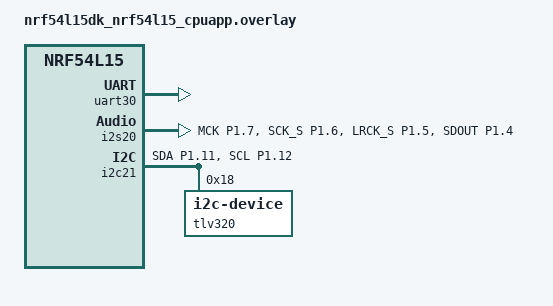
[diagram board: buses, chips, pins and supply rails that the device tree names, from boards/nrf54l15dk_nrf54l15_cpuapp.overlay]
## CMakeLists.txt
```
# SPDX-License-Identifier: Apache-2.0

cmake_minimum_required(VERSION 3.20.0)
find_package(Zephyr REQUIRED HINTS $ENV{ZEPHYR_BASE})
project(nrf54l15_audio_headset)

target_sources(app PRIVATE
  src/main.c
  src/vcp_vol_renderer.c
  src/bap_broadcast_sink.c
  src/bap_unicast_sr.c
  src/iso_rx.c
  src/audio_out.c
)
```

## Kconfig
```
#
# Copyright (c) 2022 Codecoup
# Copyright 2023 NXP
#
# SPDX-License-Identifier: Apache-2.0
#

mainmenu "nRF54L15 Audio Headset"

menu "Zephyr"
source "Kconfig.zephyr"
endmenu

menu "nRF54L15 Audio Headset"

config NRF54L15_AUDIO_HEADSET_PAST
	bool
	default y
	# enable PAST support if we can
	select BT_PER_ADV_SYNC_TRANSFER_RECEIVER if (!HAS_BT_CTLR || \
						     BT_CTLR_SYNC_TRANSFER_RECEIVER_SUPPORT)
	help
	  Lets a Broadcast Assistant (e.g. a phone) transfer the periodic
	  advertising sync of a broadcast source to this device.

config NRF54L15_AUDIO_HEADSET_SCAN_SELF
	bool "Scan for TMAP Broadcast Media Senders without Broadcast Assistant"
	help
	  If set to true, the sample will scan for and sync to a TMAP BMS by
	  itself, in addition to accepting requests from a Broadcast Assistant.

endmenu
```

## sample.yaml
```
sample:
  description: Bluetooth LE Audio headset accepting unicast (CIS) and broadcast (BIS) audio
  name: nRF54L15 Audio Headset
tests:
  sample.bluetooth.nrf54l15_audio_headset:
    sysbuild: true
    build_only: true
    integration_platforms:
      - nrf54l15dk/nrf54l15/cpuapp
    platform_allow:
      - nrf54l15dk/nrf54l15/cpuapp
    tags:
      - bluetooth
      - ci_build
      - sysbuild
      - ci_samples_bluetooth
```

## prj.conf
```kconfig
CONFIG_BT=y
CONFIG_LOG=y
CONFIG_BT_PERIPHERAL=y
# Request a 60 ms connection interval (in units of 1.25 ms) 5 s after the connection is
# established. It is within BT_BAP_CONN_PARAM_RELAXED (50-70 ms, recommended for coexistence of
# ACL and ISO) and a multiple of the 7.5, 10, 20 and 30 ms ISO intervals, so that the phone can
# schedule the ACL and the ISO events without collisions.
CONFIG_BT_GAP_AUTO_UPDATE_CONN_PARAMS=y
CONFIG_BT_PERIPHERAL_PREF_MIN_INT=48
CONFIG_BT_PERIPHERAL_PREF_MAX_INT=48
CONFIG_BT_PERIPHERAL_PREF_LATENCY=0
# Supervision timeout of 4 s (in units of 10 ms)
CONFIG_BT_PERIPHERAL_PREF_TIMEOUT=400
CONFIG_BT_PRIVACY=y
CONFIG_BT_OBSERVER=y
CONFIG_BT_AUDIO=y
CONFIG_UTF8=y

CONFIG_BT_SMP=y
CONFIG_BT_KEYS_OVERWRITE_OLDEST=y
CONFIG_BT_ATT_TX_COUNT=20

# TMAP support
CONFIG_BT_TMAP=y

# CAP
CONFIG_BT_CAP_ACCEPTOR=y

# BAP Unicast Server support (CIS)
CONFIG_BT_ISO_PERIPHERAL=y
CONFIG_BT_BAP_UNICAST_SERVER=y
# Mandatory to support at least 1 for ASCS. With the large metadata size below, long writes of
# an ASE need up to 5 prepare buffers with the default ATT MTU
CONFIG_BT_ATT_PREPARE_COUNT=5
CONFIG_BT_ASCS=y
CONFIG_BT_PAC_SNK=y
# One sink ASE per channel, so that a phone streams stereo over a CIS for each of left and right
CONFIG_BT_ASCS_MAX_ASE_SNK_COUNT=2
CONFIG_BT_PAC_SRC=y
CONFIG_BT_ASCS_MAX_ASE_SRC_COUNT=1
CONFIG_BT_ISO_TX_BUF_COUNT=2

# BAP Broadcast Sink and Scan Delegator support (BIS)
CONFIG_BT_EXT_ADV=y
CONFIG_BT_PER_ADV_SYNC=y
CONFIG_BT_ISO_SYNC_RECEIVER=y
CONFIG_BT_BAP_SCAN_DELEGATOR=y
CONFIG_BT_BAP_BROADCAST_SINK=y
CONFIG_BT_BAP_BROADCAST_SNK_SUBGROUP_COUNT=2
CONFIG_BT_BAP_BROADCAST_SNK_STREAM_COUNT=2
CONFIG_BT_BAP_BASS_MAX_SUBGROUPS=2

# VCP support
CONFIG_BT_VCP_VOL_REND=y

# Support an ISO channel per ASE (3) and per BIS (2)
CONFIG_BT_ISO_MAX_CHAN=5
# Allocate 4 RX buffers per channel
CONFIG_BT_ISO_RX_BUF_COUNT=16

# Phones send more metadata than just the Streaming Audio Contexts (e.g. a CCID list in the ASE
# Enable operation, and program info in the BASE and the BASS Add Source operation)
CONFIG_BT_AUDIO_CODEC_CFG_MAX_METADATA_SIZE=255

# PAC Location Support
CONFIG_BT_PAC_SNK_LOC=y
CONFIG_BT_PAC_SRC_LOC=y

# Generic config
CONFIG_BT_GATT_DYNAMIC_DB=y
CONFIG_BT_DEVICE_NAME="nRF54L15 Audio Headset"

# Audio output: LC3 decoding, I2S to a TLV320 DAC configured over I2C
CONFIG_FPU=y
CONFIG_LIBLC3=y
CONFIG_NRFX_I2S=y
CONFIG_CLOCK_CONTROL=y
CONFIG_I2C=y
CONFIG_GPIO=y
CONFIG_RING_BUFFER=y

# Buttons to change the volume
CONFIG_DK_LIBRARY=y
# The received audio is decoded in the Bluetooth RX thread
CONFIG_BT_RX_STACK_SIZE=12000
CONFIG_SYSTEM_WORKQUEUE_STACK_SIZE=4096
```

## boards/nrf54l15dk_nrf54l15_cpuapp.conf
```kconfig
# Larger ACL buffers and data length for faster GATT discovery by phones
CONFIG_BT_BUF_ACL_RX_SIZE=255
CONFIG_BT_BUF_ACL_TX_SIZE=251
CONFIG_BT_L2CAP_TX_MTU=247
CONFIG_BT_CTLR_DATA_LENGTH_MAX=251
CONFIG_BT_BUF_EVT_RX_SIZE=255

# The TMAS, CAS, ASCS and BASS service data does not fit in 31 octets of advertising data
CONFIG_BT_CTLR_ADV_DATA_LEN_MAX=191

# Room for periodic advertising reports containing the BASE
CONFIG_BT_CTLR_SDC_PERIODIC_SYNC_BUFFER_COUNT=10

# Store bonds so that the phone can reconnect after a reset
CONFIG_BT_SETTINGS=y
CONFIG_SETTINGS=y
CONFIG_FLASH=y
CONFIG_FLASH_MAP=y
CONFIG_ZMS=y
# Bonds are stored in the internal storage partition; the external flash is not used
CONFIG_SPI_NOR=n
# Allow the phone to pair again after it removed the bond on its side
CONFIG_BT_SMP_ALLOW_UNAUTH_OVERWRITE=y

# Output logs and the console (printk) over Segger RTT instead of UART
CONFIG_USE_SEGGER_RTT=y
CONFIG_LOG_BACKEND_RTT=y
CONFIG_LOG_BACKEND_UART=n
CONFIG_RTT_CONSOLE=y
CONFIG_UART_CONSOLE=n

#CONFIG_BT_CTLR_SDC_MAX_CONN_EVENT_LEN_DEFAULT=300

CONFIG_BT_CTLR_TX_PWR_ANTENNA=8
```

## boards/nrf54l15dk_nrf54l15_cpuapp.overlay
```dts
/* Audio output to a TLV320 DAC: I2S20 on P1.04-P1.07 and I2C21 on P1.11/P1.12. The TLV320
 * reset line is connected to the LED3 pin.
 *
 * UART20 (VCOM0) uses P1.04-P1.07 on the DK, so the console is moved to UART30 (VCOM1).
 */

/ {
	chosen {
		zephyr,shell-uart = &uart30;
		zephyr,console = &uart30;
	};
};

&uart30 {
	status = "okay";
};

&uart20 {
	status = "disabled";
};

&pinctrl {
	i2s20_default: i2s20_default {
		group1 {
			psels = <NRF_PSEL(I2S_MCK, 1, 7)>,
				<NRF_PSEL(I2S_SCK_S, 1, 6)>,
				<NRF_PSEL(I2S_LRCK_S, 1, 5)>,
				<NRF_PSEL(I2S_SDOUT, 1, 4)>;
		};
	};

	i2s20_sleep: i2s20_sleep {
		group1 {
			psels = <NRF_PSEL(I2S_MCK, 1, 7)>,
				<NRF_PSEL(I2S_SCK_S, 1, 6)>,
				<NRF_PSEL(I2S_LRCK_S, 1, 5)>,
				<NRF_PSEL(I2S_SDOUT, 1, 4)>;
			low-power-enable;
		};
	};

	i2c21_default_alt: i2c21_default_alt {
		group1 {
			psels = <NRF_PSEL(TWIM_SDA, 1, 11)>,
				<NRF_PSEL(TWIM_SCL, 1, 12)>;
		};
	};

	i2c21_sleep_alt: i2c21_sleep_alt {
		group1 {
			psels = <NRF_PSEL(TWIM_SDA, 1, 11)>,
				<NRF_PSEL(TWIM_SCL, 1, 12)>;
			low-power-enable;
		};
	};
};

&i2s20 {
	status = "okay";
	pinctrl-0 = <&i2s20_default>;
	pinctrl-1 = <&i2s20_sleep>;
	pinctrl-names = "default", "sleep";
};

&i2c21 {
	compatible = "nordic,nrf-twim";
	status = "okay";
	pinctrl-0 = <&i2c21_default_alt>;
	pinctrl-1 = <&i2c21_sleep_alt>;
	pinctrl-names = "default", "sleep";

	tlv320: tlv320@18 {
		compatible = "i2c-device";
		status = "okay";
		reg = <0x18>;
	};
};
```

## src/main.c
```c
/*
 * Copyright 2023 NXP
 * Copyright (c) 2026 Nordic Semiconductor ASA
 *
 * SPDX-License-Identifier: Apache-2.0
 */

#include <errno.h>
#include <stddef.h>

#include <zephyr/autoconf.h>
#include <zephyr/bluetooth/assigned_numbers.h>
#include <zephyr/bluetooth/audio/audio.h>
#include <zephyr/bluetooth/audio/bap.h>
#include <zephyr/bluetooth/audio/lc3.h>
#include <zephyr/bluetooth/audio/pacs.h>
#include <zephyr/bluetooth/audio/tmap.h>
#include <zephyr/bluetooth/bluetooth.h>
#include <zephyr/bluetooth/byteorder.h>
#include <zephyr/bluetooth/conn.h>
#include <zephyr/bluetooth/gap.h>
#include <zephyr/bluetooth/hci.h>
#include <zephyr/bluetooth/uuid.h>
#include <zephyr/kernel.h>
#include <zephyr/settings/settings.h>
#include <zephyr/sys/printk.h>
#include <zephyr/sys/util.h>
#include <zephyr/types.h>

#include "nrf54l15_audio_headset.h"

#define TMAP_ROLE (BT_TMAP_ROLE_CT | BT_TMAP_ROLE_UMR | BT_TMAP_ROLE_BMR)

/* Cover the LC3 presets used by phones for both media (e.g. 48_2, 48_4) and calls (16_2, 32_2) */
#define SUPPORTED_FREQ                                                                             \
	(BT_AUDIO_CODEC_CAP_FREQ_16KHZ | BT_AUDIO_CODEC_CAP_FREQ_24KHZ |                           \
	 BT_AUDIO_CODEC_CAP_FREQ_32KHZ | BT_AUDIO_CODEC_CAP_FREQ_48KHZ)
#define SUPPORTED_DURATION (BT_AUDIO_CODEC_CAP_DURATION_7_5 | BT_AUDIO_CODEC_CAP_DURATION_10)
#define MIN_OCTETS_PER_FRAME 26U
#define MAX_OCTETS_PER_FRAME 155U
#define FRAMES_PER_SDU       1U
/* Stereo output, with one sink ASE per channel */
#define SINK_LOCATION   (BT_AUDIO_LOCATION_FRONT_LEFT | BT_AUDIO_LOCATION_FRONT_RIGHT)
#define SOURCE_LOCATION BT_AUDIO_LOCATION_FRONT_LEFT

static const struct bt_data ad[] = {
	BT_DATA_BYTES(BT_DATA_FLAGS, (BT_LE_AD_GENERAL | BT_LE_AD_NO_BREDR)),
	BT_DATA_BYTES(BT_DATA_GAP_APPEARANCE,
		      BT_BYTES_LIST_LE16(BT_APPEARANCE_WEARABLE_AUDIO_DEVICE_EARBUD)),
	BT_DATA_BYTES(BT_DATA_UUID16_SOME, BT_UUID_16_ENCODE(BT_UUID_ASCS_VAL),
		      BT_UUID_16_ENCODE(BT_UUID_CAS_VAL), BT_UUID_16_ENCODE(BT_UUID_TMAS_VAL),
		      BT_UUID_16_ENCODE(BT_UUID_BASS_VAL)),
	BT_DATA_BYTES(BT_DATA_SVC_DATA16, BT_UUID_16_ENCODE(BT_UUID_TMAS_VAL),
		      BT_BYTES_LIST_LE16(TMAP_ROLE)),
	BT_DATA_BYTES(BT_DATA_SVC_DATA16, BT_UUID_16_ENCODE(BT_UUID_CAS_VAL),
		      BT_AUDIO_UNICAST_ANNOUNCEMENT_TARGETED),
	BT_DATA_BYTES(BT_DATA_SVC_DATA16, BT_UUID_16_ENCODE(BT_UUID_ASCS_VAL),
		      BT_AUDIO_UNICAST_ANNOUNCEMENT_TARGETED, BT_BYTES_LIST_LE16(SINK_CONTEXT),
		      BT_BYTES_LIST_LE16(SOURCE_CONTEXT), 0x00 /* Metadata length */),
	BT_DATA_BYTES(BT_DATA_SVC_DATA16, BT_UUID_16_ENCODE(BT_UUID_BASS_VAL)),
	BT_DATA(BT_DATA_NAME_COMPLETE, CONFIG_BT_DEVICE_NAME, sizeof(CONFIG_BT_DEVICE_NAME) - 1),
};

static struct bt_conn *default_conn;

static K_SEM_DEFINE(sem_connected, 0, 1);
static K_SEM_DEFINE(sem_disconnected, 0, 1);

static void print_conn_params(const char *event, uint32_t interval_us, uint16_t latency,
			      uint16_t timeout)
{
	printk("%s: interval %u.%02u ms, latency %u, timeout %u ms\n", event,
	       interval_us / USEC_PER_MSEC, (interval_us % USEC_PER_MSEC) / 10U, latency,
	       timeout * 10U);
}

static void connected(struct bt_conn *conn, uint8_t err)
{
	struct bt_conn_info info;

	if (err != 0) {
		printk("Failed to connect to %s %u %s\n", bt_conn_dst_str(conn),
		       err, bt_hci_err_to_str(err));

		return;
	}

	printk("Connected: %s\n", bt_conn_dst_str(conn));

	if (bt_conn_get_info(conn, &info) == 0) {
		print_conn_params("Connection parameters", info.le.interval_us, info.le.latency,
				  info.le.timeout);
	}

	default_conn = bt_conn_ref(conn);
	k_sem_give(&sem_connected);
}

static void le_param_updated(struct bt_conn *conn, uint16_t interval, uint16_t latency,
			     uint16_t timeout)
{
	print_conn_params("Connection parameters updated", BT_CONN_INTERVAL_TO_US(interval),
			  latency, timeout);
}

static void disconnected(struct bt_conn *conn, uint8_t reason)
{
	if (conn != default_conn) {
		return;
	}

	printk("Disconnected: %s, reason 0x%02x %s\n", bt_conn_dst_str(conn),
	       reason, bt_hci_err_to_str(reason));

	bt_conn_unref(default_conn);
	default_conn = NULL;

	k_sem_give(&sem_disconnected);
}

static void security_changed(struct bt_conn *conn, bt_security_t level,
			     enum bt_security_err err)
{
	if (err == 0) {
		printk("Security changed: level %u\n", level);
	} else {
		printk("Failed to set security level: %s(%u)\n", bt_security_err_to_str(err), err);
	}
}

BT_CONN_CB_DEFINE(conn_callbacks) = {
	.connected = connected,
	.disconnected = disconnected,
	.le_param_updated = le_param_updated,
	.security_changed = security_changed,
};

/** Register the PAC record, location and contexts for a direction */
static int register_pac(enum bt_audio_dir dir, enum bt_audio_context context,
			struct bt_pacs_cap *cap, enum bt_audio_location location)
{
	int err;

	err = bt_pacs_cap_register(dir, cap);
	if (err != 0) {
		printk("Failed to register capabilities (err %d)\n", err);
		return err;
	}

	err = bt_pacs_set_location(dir, location);
	if (err != 0) {
		printk("Failed to set location (err %d)\n", err);
		return err;
	}

	err = bt_pacs_set_supported_contexts(dir, context);
	if (err != 0 && err != -EALREADY) {
		printk("Failed to set supported contexts (err %d)\n", err);
		return err;
	}

	err = bt_pacs_set_available_contexts(dir, context);
	if (err != 0 && err != -EALREADY) {
		printk("Failed to set available contexts (err %d)\n", err);
		return err;
	}

	return 0;
}

/* The sink PAC record is used for both the unicast (CIS) and the broadcast (BIS) sink */
static int pacs_init(void)
{
	static const struct bt_audio_codec_cap sink_codec_cap = BT_AUDIO_CODEC_CAP_LC3(
		SUPPORTED_FREQ, SUPPORTED_DURATION, BT_AUDIO_CODEC_CAP_CHAN_COUNT_SUPPORT(1),
		MIN_OCTETS_PER_FRAME, MAX_OCTETS_PER_FRAME, FRAMES_PER_SDU, SINK_CONTEXT);
	static const struct bt_audio_codec_cap source_codec_cap = BT_AUDIO_CODEC_CAP_LC3(
		SUPPORTED_FREQ, SUPPORTED_DURATION, BT_AUDIO_CODEC_CAP_CHAN_COUNT_SUPPORT(1),
		MIN_OCTETS_PER_FRAME, MAX_OCTETS_PER_FRAME, FRAMES_PER_SDU, SOURCE_CONTEXT);
	static struct bt_pacs_cap sink_cap = {
		.codec_cap = &sink_codec_cap,
	};
	static struct bt_pacs_cap source_cap = {
		.codec_cap = &source_codec_cap,
	};
	const struct bt_pacs_register_param pacs_param = {
		.snk_pac = true,
		.snk_loc = true,
		.src_pac = true,
		.src_loc = true,
	};
	int err;

	err = bt_pacs_register(&pacs_param);
	if (err != 0) {
		printk("Could not register PACS (err %d)\n", err);
		return err;
	}

	err = register_pac(BT_AUDIO_DIR_SINK, SINK_CONTEXT, &sink_cap, SINK_LOCATION);
	if (err != 0) {
		return err;
	}

	return register_pac(BT_AUDIO_DIR_SOURCE, SOURCE_CONTEXT, &source_cap, SOURCE_LOCATION);
}

int main(void)
{
	struct bt_le_ext_adv *adv;
	int err;

	err = audio_out_init();
	if (err != 0) {
		printk("Audio output init failed (err %d)\n", err);
		return err;
	}

	printk("Audio output initialized\n");

	err = bt_enable(NULL);
	if (err != 0) {
		printk("Bluetooth init failed (err %d)\n", err);
		return err;
	}

	printk("Bluetooth initialized\n");

	if (IS_ENABLED(CONFIG_BT_SETTINGS)) {
		/* Restore bonds so that a phone can reconnect after a reset */
		err = settings_load();
		if (err != 0) {
			printk("Failed to load settings (err %d)\n", err);
			return err;
		}
	}

	printk("Initializing TMAP and setting role\n");
	err = bt_tmap_register(TMAP_ROLE);
	if (err != 0) {
		return err;
	}

	err = vcp_vol_renderer_init();
	if (err != 0) {
		return err;
	}
	printk("VCP initialized\n");

	err = pacs_init();
	if (err != 0) {
		return err;
	}
	printk("PACS initialized\n");

	err = bap_unicast_sr_init();
	if (err != 0) {
		return err;
	}
	printk("BAP Unicast Server initialized\n");

	err = bap_broadcast_sink_init();
	if (err != 0) {
		return err;
	}
	printk("BAP Broadcast Sink initialized\n");

	err = bt_le_ext_adv_create(BT_BAP_ADV_PARAM_CONN_QUICK, NULL, &adv);
	if (err != 0) {
		printk("Failed to create advertising set (err %d)\n", err);
		return err;
	}

	err = bt_le_ext_adv_set_data(adv, ad, ARRAY_SIZE(ad), NULL, 0);
	if (err != 0) {
		printk("Failed to set advertising data (err %d)\n", err);
		return err;
	}

	while (true) {
		err = bt_le_ext_adv_start(adv, BT_LE_EXT_ADV_START_DEFAULT);
		if (err != 0) {
			printk("Failed to start advertising set (err %d)\n", err);
			return err;
		}

		printk("Advertising successfully started\n");

		/* The connected phone acts as CAP Initiator (CIS) and/or Broadcast Assistant (BIS).
		 * All requests are handled in the callbacks; just wait for it to go away again.
		 */
		k_sem_take(&sem_connected, K_FOREVER);
		k_sem_take(&sem_disconnected, K_FOREVER);
	}

	return 0;
}
```

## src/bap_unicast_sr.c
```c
/** @file
 *  @brief Bluetooth Basic Audio Profile (BAP) Unicast Server role.
 *
 *  Copyright (c) 2021-2026 Nordic Semiconductor ASA
 *  Copyright (c) 2022 Codecoup
 *  Copyright (c) 2023 NXP
 *
 *  SPDX-License-Identifier: Apache-2.0
 */

#include <errno.h>
#include <stdbool.h>
#include <stddef.h>
#include <stdint.h>

#include <zephyr/autoconf.h>
#include <zephyr/bluetooth/audio/audio.h>
#include <zephyr/bluetooth/audio/bap.h>
#include <zephyr/bluetooth/bluetooth.h>
#include <zephyr/bluetooth/conn.h>
#include <zephyr/bluetooth/gap.h>
#include <zephyr/bluetooth/hci_types.h>
#include <zephyr/bluetooth/iso.h>
#include <zephyr/kernel.h>
#include <zephyr/net_buf.h>
#include <zephyr/sys/printk.h>
#include <zephyr/sys/util.h>
#include <zephyr/sys/util_macro.h>

#include "nrf54l15_audio_headset.h"

#define TX_LOG_INTERVAL 100U

/* Preferred retransmission number proposed to the phone in the Codec Configured state, which
 * the phone uses for the CIS. 13 is the value of the high reliability QoS settings of BAP (e.g.
 * BT_BAP_LC3_UNICAST_PRESET_48_4_2), for a more robust audio stream than the low latency ones.
 */
#define QOS_PREF_RTN 10U

static struct unicast_stream {
	struct bt_bap_stream stream;
	struct iso_rx_stats rx_stats;
	uint16_t tx_seq_num;
	size_t tx_cnt;
} sink_streams[CONFIG_BT_ASCS_MAX_ASE_SNK_COUNT], source_streams[CONFIG_BT_ASCS_MAX_ASE_SRC_COUNT];

static const struct bt_bap_qos_cfg_pref qos_pref =
	BT_BAP_QOS_CFG_PREF(true, BT_GAP_LE_PHY_2M, QOS_PREF_RTN, 10, 20000, 40000, 20000, 40000);

static void print_hex(const uint8_t *ptr, size_t len)
{
	while (len-- != 0) {
		printk("%02x", *ptr++);
	}
}

static bool print_cb(struct bt_data *data, void *user_data)
{
	const char *str = (const char *)user_data;

	printk("%s: type 0x%02x value_len %u: ", str, data->type, data->data_len);
	print_hex(data->data, data->data_len);
	printk("\n");

	return true;
}

static void print_codec_cfg(const struct bt_audio_codec_cfg *codec_cfg)
{
	printk("codec_cfg 0x%02x cid 0x%04x vid 0x%04x count %u\n", codec_cfg->id, codec_cfg->cid,
	       codec_cfg->vid, codec_cfg->data_len);

	if (codec_cfg->id == BT_HCI_CODING_FORMAT_LC3) {
		enum bt_audio_location chan_allocation;
		int ret;

		ret = bt_audio_codec_cfg_get_freq(codec_cfg);
		if (ret > 0) {
			printk("  Frequency: %d Hz\n", bt_audio_codec_cfg_freq_to_freq_hz(ret));
		}

		ret = bt_audio_codec_cfg_get_frame_dur(codec_cfg);
		if (ret > 0) {
			printk("  Frame Duration: %d us\n",
			       bt_audio_codec_cfg_frame_dur_to_frame_dur_us(ret));
		}

		ret = bt_audio_codec_cfg_get_chan_allocation(codec_cfg, &chan_allocation, false);
		if (ret == 0) {
			printk("  Channel allocation: 0x%x\n", chan_allocation);
		}

		printk("  Octets per frame: %d (negative means value not present)\n",
		       bt_audio_codec_cfg_get_octets_per_frame(codec_cfg));
		printk("  Frames per SDU: %d\n",
		       bt_audio_codec_cfg_get_frame_blocks_per_sdu(codec_cfg, true));
	} else {
		print_hex(codec_cfg->data, codec_cfg->data_len);
		printk("\n");
	}

	bt_audio_data_parse(codec_cfg->meta, codec_cfg->meta_len, print_cb, "meta");
}

static void print_qos(const struct bt_bap_qos_cfg *qos)
{
	printk("QoS: interval %u framing 0x%02x phy 0x%02x sdu %u "
	       "rtn %u latency %u pd %u\n",
	       qos->interval, qos->framing, qos->phy, qos->sdu,
	       qos->rtn, qos->latency, qos->pd);
}

static const char *dir_str(enum bt_audio_dir dir)
{
	return dir == BT_AUDIO_DIR_SINK ? "sink" : "source";
}

static struct bt_bap_stream *stream_alloc(enum bt_audio_dir dir)
{
	if (dir == BT_AUDIO_DIR_SINK) {
		ARRAY_FOR_EACH_PTR(sink_streams, unicast_stream) {
			if (unicast_stream->stream.ep == NULL) {
				return &unicast_stream->stream;
			}
		}
	} else if (dir == BT_AUDIO_DIR_SOURCE) {
		ARRAY_FOR_EACH_PTR(source_streams, unicast_stream) {
			if (unicast_stream->stream.ep == NULL) {
				return &unicast_stream->stream;
			}
		}
	}

	return NULL;
}

static int lc3_config(struct bt_conn *conn, const struct bt_bap_ep *ep, enum bt_audio_dir dir,
		      const struct bt_audio_codec_cfg *codec_cfg, struct bt_bap_stream **stream,
		      struct bt_bap_qos_cfg_pref *const pref, struct bt_bap_ascs_rsp *rsp)
{
	printk("ASE Codec Config: conn %p ep %p dir %s\n", conn, ep, dir_str(dir));

	print_codec_cfg(codec_cfg);

	*stream = stream_alloc(dir);
	if (*stream == NULL) {
		printk("No %s streams available\n", dir_str(dir));
		*rsp = BT_BAP_ASCS_RSP(BT_BAP_ASCS_RSP_CODE_NO_MEM, BT_BAP_ASCS_REASON_NONE);

		return -ENOMEM;
	}

	printk("ASE Codec Config stream %p\n", *stream);

	*pref = qos_pref;

	return 0;
}

static int lc3_reconfig(struct bt_bap_stream *stream, enum bt_audio_dir dir,
			const struct bt_audio_codec_cfg *codec_cfg,
			struct bt_bap_qos_cfg_pref *const pref, struct bt_bap_ascs_rsp *rsp)
{
	printk("ASE Codec Reconfig: stream %p dir %s\n", stream, dir_str(dir));
	print_codec_cfg(codec_cfg);
	*pref = qos_pref;

	return 0;
}

static int lc3_qos(struct bt_bap_stream *stream, const struct bt_bap_qos_cfg *qos,
		   struct bt_bap_ascs_rsp *rsp)
{
	printk("QoS: stream %p qos %p\n", stream, qos);

	print_qos(qos);

	return 0;
}

static int lc3_enable(struct bt_bap_stream *stream, const uint8_t meta[], size_t meta_len,
		      struct bt_bap_ascs_rsp *rsp)
{
	printk("Enable: stream %p meta_len %zu\n", stream, meta_len);

	bt_audio_data_parse(meta, meta_len, print_cb, "meta");

	return 0;
}

static int lc3_start(struct bt_bap_stream *stream, struct bt_bap_ascs_rsp *rsp)
{
	printk("Start: stream %p\n", stream);

	return 0;
}

static int lc3_metadata(struct bt_bap_stream *stream, const uint8_t meta[], size_t meta_len,
			struct bt_bap_ascs_rsp *rsp)
{
	printk("Metadata: stream %p meta_len %zu\n", stream, meta_len);

	/* The metadata is only logged. In particular, the CCID list is not validated as the
	 * phone will typically refer to its own (G)TBS, which this sample does not discover.
	 */
	bt_audio_data_parse(meta, meta_len, print_cb, "meta");

	return 0;
}

static int lc3_disable(struct bt_bap_stream *stream, struct bt_bap_ascs_rsp *rsp)
{
	printk("Disable: stream %p\n", stream);

	return 0;
}

static int lc3_stop(struct bt_bap_stream *stream, struct bt_bap_ascs_rsp *rsp)
{
	printk("Stop: stream %p\n", stream);

	return 0;
}

static int lc3_release(struct bt_bap_stream *stream, struct bt_bap_ascs_rsp *rsp)
{
	printk("Release: stream %p\n", stream);

	return 0;
}

static struct bt_bap_unicast_server_register_param param = {
	CONFIG_BT_ASCS_MAX_ASE_SNK_COUNT,
	CONFIG_BT_ASCS_MAX_ASE_SRC_COUNT
};

static const struct bt_bap_unicast_server_cb unicast_server_cb = {
	.config = lc3_config,
	.reconfig = lc3_reconfig,
	.qos = lc3_qos,
	.enable = lc3_enable,
	.start = lc3_start,
	.metadata = lc3_metadata,
	.disable = lc3_disable,
	.stop = lc3_stop,
	.release = lc3_release,
};

static void stream_recv(struct bt_bap_stream *stream, const struct bt_iso_recv_info *info,
			struct net_buf *buf)
{
	struct unicast_stream *unicast_stream =
		CONTAINER_OF(stream, struct unicast_stream, stream);

	iso_rx_log("CIS", stream, &unicast_stream->rx_stats, info, buf);
	audio_out_recv(stream, info, buf);
}

static void stream_sent(struct bt_bap_stream *stream)
{
	struct unicast_stream *unicast_stream =
		CONTAINER_OF(stream, struct unicast_stream, stream);

	unicast_stream->tx_cnt++;
	if (unicast_stream->tx_cnt == 1U || (unicast_stream->tx_cnt % TX_LOG_INTERVAL) == 0U) {
		printk("[CIS] stream %p sent %zu SDUs\n", stream, unicast_stream->tx_cnt);
	}
}

static void stream_enabled(struct bt_bap_stream *stream)
{
	struct bt_bap_ep_info ep_info;
	int err;

	err = bt_bap_ep_get_info(stream->ep, &ep_info);
	if (err != 0) {
		printk("Failed to get ep info: %d\n", err);
		return;
	}

	printk("Enabled %s stream %p\n", dir_str(ep_info.dir), stream);

	/* The radio cannot receive a BIG and the CISes at the same time: with both, the CIS data
	 * is lost and not all CISes get established. Unicast audio takes over, so stop the BIS
	 * reception before the phone sets up the CISes.
	 */
	bap_broadcast_sink_stop_bis();

	/* The unicast server is responsible for starting the sink streams */
	if (ep_info.dir == BT_AUDIO_DIR_SINK) {
		/* Automatically do the receiver start ready operation */
		err = bt_bap_stream_start(stream);

		if (err != 0) {
			printk("Failed to start stream %p: %d\n", stream, err);
		}
	}
}

static void stream_started(struct bt_bap_stream *stream)
{
	struct unicast_stream *unicast_stream =
		CONTAINER_OF(stream, struct unicast_stream, stream);

	printk("Unicast stream %p started\n", stream);

	iso_rx_reset(&unicast_stream->rx_stats);
	unicast_stream->tx_seq_num = 0U;
	unicast_stream->tx_cnt = 0U;

	/* Play the received audio; the source (microphone) streams only send dummy SDUs */
	if (IS_ARRAY_ELEMENT(sink_streams, unicast_stream)) {
		(void)audio_out_stream_start(AUDIO_OUT_SRC_CIS, stream);
	}
}

static void stream_stopped(struct bt_bap_stream *stream, uint8_t reason)
{
	printk("Unicast stream %p stopped with reason 0x%02X\n", stream, reason);

	audio_out_stream_stop(stream);
}

static void stream_released(struct bt_bap_stream *stream)
{
	printk("Unicast stream %p released\n", stream);

	/* In case the stream was released without being stopped, e.g. on disconnect */
	audio_out_stream_stop(stream);
}

static struct bt_bap_stream_ops stream_ops = {
	.enabled = stream_enabled,
	.started = stream_started,
	.stopped = stream_stopped,
	.released = stream_released,
	.recv = stream_recv,
	.sent = stream_sent,
};

static bool stream_is_streaming(const struct bt_bap_stream *stream)
{
	struct bt_bap_ep_info ep_info;

	if (stream->ep == NULL) {
		return false;
	}

	if (bt_bap_ep_get_info(stream->ep, &ep_info) != 0) {
		return false;
	}

	return ep_info.state == BT_BAP_EP_STATE_STREAMING;
}

/* Sends dummy (all zero) SDUs on the source streams. The rate is limited by the number of TX
 * buffers, which are released when the controller has sent the SDU.
 */
static void tx_thread_func(void *arg1, void *arg2, void *arg3)
{
	NET_BUF_POOL_FIXED_DEFINE(tx_pool, CONFIG_BT_ISO_TX_BUF_COUNT,
				  BT_ISO_SDU_BUF_SIZE(CONFIG_BT_ISO_TX_MTU),
				  CONFIG_BT_CONN_TX_USER_DATA_SIZE, NULL);
	static const uint8_t data[CONFIG_BT_ISO_TX_MTU];

	while (true) {
		bool sent = false;

		ARRAY_FOR_EACH_PTR(source_streams, unicast_stream) {
			struct bt_bap_stream *stream = &unicast_stream->stream;
			struct net_buf *buf;
			int err;

			if (!stream_is_streaming(stream) || stream->qos == NULL) {
				continue;
			}

			buf = net_buf_alloc(&tx_pool, K_FOREVER);
			net_buf_reserve(buf, BT_ISO_CHAN_SEND_RESERVE);
			net_buf_add_mem(buf, data, MIN(stream->qos->sdu, sizeof(data)));

			err = bt_bap_stream_send(stream, buf, unicast_stream->tx_seq_num);
			if (err == 0) {
				unicast_stream->tx_seq_num++;
				sent = true;
			} else {
				printk("Unable to send on stream %p: %d\n", stream, err);
				net_buf_unref(buf);
			}
		}

		if (!sent) {
			/* Nothing is streaming, or sending failed; retry with a delay */
			k_sleep(K_MSEC(100));
		}
	}
}

/* Release a stream if it uses a CIS. A Release (rather than a Disable) makes the CIS
 * disconnect, so that the radio is free for a BIG.
 */
static void stream_release_if_cis(struct bt_bap_stream *stream)
{
	struct bt_bap_ep_info ep_info;
	int err;

	if (stream->ep == NULL || bt_bap_ep_get_info(stream->ep, &ep_info) != 0) {
		return;
	}

	switch (ep_info.state) {
	case BT_BAP_EP_STATE_ENABLING:
	case BT_BAP_EP_STATE_STREAMING:
	case BT_BAP_EP_STATE_DISABLING:
		break;
	case BT_BAP_EP_STATE_QOS_CONFIGURED:
		/* A disabled stream may still keep its CIS */
		if (ep_info.iso_chan != NULL && ep_info.iso_chan->state == BT_ISO_STATE_CONNECTED) {
			break;
		}

		return;
	default:
		return;
	}

	printk("Releasing %s stream %p to receive BISes\n", dir_str(ep_info.dir), stream);

	err = bt_bap_stream_release(stream);
	if (err != 0) {
		printk("Failed to release stream %p: %d\n", stream, err);
	}
}

static void stop_cis_work_handler(struct k_work *work)
{
	ARRAY_FOR_EACH_PTR(sink_streams, unicast_stream) {
		stream_release_if_cis(&unicast_stream->stream);
	}

	ARRAY_FOR_EACH_PTR(source_streams, unicast_stream) {
		stream_release_if_cis(&unicast_stream->stream);
	}
}

static K_WORK_DEFINE(stop_cis_work, stop_cis_work_handler);

void bap_unicast_sr_stop_cis(void)
{
	/* Release the streams from the system workqueue rather than from the Bluetooth callback
	 * that starts the BIS reception, e.g. when receiving a BIGInfo
	 */
	k_work_submit(&stop_cis_work);
}

int bap_unicast_sr_init(void)
{
	int err;

	err = bt_bap_unicast_server_register(&param);
	if (err != 0) {
		printk("Failed to register BAP unicast server (err %d)\n", err);
		return err;
	}

	err = bt_bap_unicast_server_register_cb(&unicast_server_cb);
	if (err != 0) {
		printk("Failed to register BAP unicast server callbacks (err %d)\n", err);
		return err;
	}

	ARRAY_FOR_EACH_PTR(sink_streams, unicast_stream) {
		bt_bap_stream_cb_register(&unicast_stream->stream, &stream_ops);
	}

	ARRAY_FOR_EACH_PTR(source_streams, unicast_stream) {
		bt_bap_stream_cb_register(&unicast_stream->stream, &stream_ops);
	}

	if (IS_ENABLED(CONFIG_BT_ASCS_ASE_SRC)) {
		static K_KERNEL_STACK_DEFINE(tx_thread_stack, 1024);
		static struct k_thread tx_thread;

		k_thread_create(&tx_thread, tx_thread_stack, K_KERNEL_STACK_SIZEOF(tx_thread_stack),
				tx_thread_func, NULL, NULL, NULL, K_PRIO_PREEMPT(5), 0, K_NO_WAIT);
		k_thread_name_set(&tx_thread, "TX thread");
	}

	return 0;
}
```

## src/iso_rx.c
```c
/*
 * Copyright (c) 2026 Nordic Semiconductor ASA
 *
 * SPDX-License-Identifier: Apache-2.0
 */

#include <stdbool.h>
#include <stddef.h>
#include <stdint.h>
#include <string.h>

#include <zephyr/bluetooth/audio/bap.h>
#include <zephyr/bluetooth/iso.h>
#include <zephyr/net_buf.h>
#include <zephyr/sys/printk.h>
#include <zephyr/sys/util.h>

#include "nrf54l15_audio_headset.h"

#define ISO_RX_HEX_LEN 8U

void iso_rx_reset(struct iso_rx_stats *stats)
{
	(void)memset(stats, 0, sizeof(*stats));
}

void iso_rx_log(const char *tag, const struct bt_bap_stream *stream, struct iso_rx_stats *stats,
		const struct bt_iso_recv_info *info, const struct net_buf *buf)
{
	bool do_log = false;

	stats->recv_cnt++;
	if (stats->recv_cnt == 1U || (stats->recv_cnt % ISO_RX_LOG_INTERVAL) == 0U) {
		do_log = true;
	}

	if ((info->flags & BT_ISO_FLAGS_ERROR) != 0U) {
		stats->err_cnt++;
		do_log = true;
	}

	if ((info->flags & BT_ISO_FLAGS_LOST) != 0U) {
		stats->lost_cnt++;
		do_log = true;
	}

	if ((info->flags & BT_ISO_FLAGS_VALID) != 0U) {
		if (buf->len == 0U) {
			stats->empty_cnt++;
		} else {
			stats->valid_cnt++;
		}
	}

	if (!do_log) {
		return;
	}

	printk("[%s] stream %p #%zu len %u seq %u ts %u flags 0x%02X | valid %zu empty %zu "
	       "lost %zu err %zu | data:",
	       tag, stream, stats->recv_cnt, buf->len, info->seq_num, info->ts, info->flags,
	       stats->valid_cnt, stats->empty_cnt, stats->lost_cnt, stats->err_cnt);

	for (size_t i = 0U; i < MIN(buf->len, ISO_RX_HEX_LEN); i++) {
		printk(" %02x", buf->data[i]);
	}

	printk("\n");
}
```

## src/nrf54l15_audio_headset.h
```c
/*
 * Copyright 2023 NXP
 *
 * SPDX-License-Identifier: Apache-2.0
 */

#ifndef NRF54L15_AUDIO_HEADSET_H_
#define NRF54L15_AUDIO_HEADSET_H_

#include <stdbool.h>
#include <stddef.h>
#include <stdint.h>

#include <zephyr/bluetooth/assigned_numbers.h>
#include <zephyr/bluetooth/audio/bap.h>
#include <zephyr/bluetooth/iso.h>
#include <zephyr/net_buf.h>
#include <zephyr/types.h>

#define SINK_CONTEXT BT_AUDIO_CONTEXT_TYPE_ANY
#define SOURCE_CONTEXT                                                                             \
	(BT_AUDIO_CONTEXT_TYPE_UNSPECIFIED | BT_AUDIO_CONTEXT_TYPE_CONVERSATIONAL |                \
	 BT_AUDIO_CONTEXT_TYPE_GAME | BT_AUDIO_CONTEXT_TYPE_VOICE_ASSISTANTS |                     \
	 BT_AUDIO_CONTEXT_TYPE_LIVE | BT_AUDIO_CONTEXT_TYPE_INSTRUCTIONAL)

/* Log every Nth received SDU (plus the first one and any lost/erroneous ones) */
#define ISO_RX_LOG_INTERVAL 100U

/** Statistics for a receiving (CIS or BIS) stream */
struct iso_rx_stats {
	size_t recv_cnt;
	size_t valid_cnt;
	size_t empty_cnt;
	size_t lost_cnt;
	size_t err_cnt;
};

/**
 * @brief Initialize the VCP Volume Renderer role
 *
 * @return 0 if success, errno on failure.
 */
int vcp_vol_renderer_init(void);

/**
 * @brief Initialize BAP Unicast Server (CIS sink and source)
 *
 * @return 0 if success, errno on failure.
 */
int bap_unicast_sr_init(void);

/**
 * @brief Stop receiving and sending CISes, e.g. because broadcast audio starts
 *
 * Releases the unicast streams that use a CIS, which disconnects the CISes. The phone can
 * configure and enable the streams again.
 */
void bap_unicast_sr_stop_cis(void);

/**
 * @brief Initialize BAP Broadcast Sink and Scan Delegator (BIS)
 *
 * @return 0 if success, errno on failure.
 */
int bap_broadcast_sink_init(void);

/**
 * @brief Stop receiving BISes, e.g. because unicast audio starts
 *
 * The BIG sync is stopped and not requested again by the broadcast sink itself, until the
 * Broadcast Assistant requests the BIS sync again. The PA sync and the source in the Broadcast
 * Receive State are kept.
 */
void bap_broadcast_sink_stop_bis(void);

/**
 * @brief Reset the receive statistics of a stream
 *
 * @param stats Statistics to reset
 */
void iso_rx_reset(struct iso_rx_stats *stats);

/**
 * @brief Update statistics for a received ISO SDU and print it when relevant
 *
 * @param tag    Short tag identifying the transport, e.g. "CIS" or "BIS"
 * @param stream The stream the SDU was received on
 * @param stats  Statistics of @p stream
 * @param info   ISO receive info
 * @param buf    The received SDU
 */
void iso_rx_log(const char *tag, const struct bt_bap_stream *stream, struct iso_rx_stats *stats,
		const struct bt_iso_recv_info *info, const struct net_buf *buf);

/** Source of the audio played by the audio output */
enum audio_out_src {
	AUDIO_OUT_SRC_CIS,
	AUDIO_OUT_SRC_BIS,
};

/**
 * @brief Initialize the audio output (TLV320 DAC and I2S)
 *
 * Must be called before Bluetooth is enabled.
 *
 * @return 0 if success, errno on failure.
 */
int audio_out_init(void);

/**
 * @brief Start playing a stream
 *
 * Up to two streams (left and right) per source are played. The first stream of a source sets
 * the codec configuration used for decoding its streams. The source that started a stream last
 * is played; when all its streams have stopped, the streams of the other source are played
 * again, if any.
 *
 * @param src    Source of the stream
 * @param stream The stream that started
 *
 * @retval 0 if the stream is played, or will be played when its source becomes active again
 * @retval -EALREADY if the stream was already started
 * @retval -ENOMEM if two streams of @p src are already started
 * @retval -EINVAL if the codec configuration of the stream is not supported
 */
int audio_out_stream_start(enum audio_out_src src, const struct bt_bap_stream *stream);

/**
 * @brief Stop playing a stream
 *
 * Does nothing if the stream was not started.
 *
 * @param stream The stream that stopped
 */
void audio_out_stream_stop(const struct bt_bap_stream *stream);

/**
 * @brief Play an SDU received on a stream
 *
 * Does nothing if the stream is not of the source being played.
 *
 * @param stream The stream the SDU was received on
 * @param info   ISO receive info
 * @param buf    The received SDU
 */
void audio_out_recv(const struct bt_bap_stream *stream, const struct bt_iso_recv_info *info,
		    const struct net_buf *buf);

/**
 * @brief Set the output volume
 *
 * @param volume Volume from 0 to 255, as used by the Volume Control Service
 * @param mute   True to mute the output
 */
void audio_out_volume_set(uint8_t volume, bool mute);

#endif /* NRF54L15_AUDIO_HEADSET_H_ */
```

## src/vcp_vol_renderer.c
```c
/** @file
 *  @brief Bluetooth Volume Control Profile (VCP) Volume Renderer role.
 *
 *  Copyright (c) 2020 Bose Corporation
 *  Copyright (c) 2020-2024 Nordic Semiconductor ASA
 *  Copyright (c) 2022 Codecoup
 *  Copyright 2023 NXP
 *
 *  SPDX-License-Identifier: Apache-2.0
 */

#include <stdint.h>
#include <string.h>

#include <zephyr/bluetooth/conn.h>
#include <zephyr/bluetooth/audio/vcp.h>
#include <zephyr/kernel.h>
#include <zephyr/sys/printk.h>

#include <dk_buttons_and_leds.h>

#include "nrf54l15_audio_headset.h"

/* The 50 dB DAC volume range is mapped to the volume range 0-255, so a step of 13 changes the
 * volume by about 2.5 dB
 */
#define VOLUME_STEP 13U

static struct bt_vcp_included vcp_included;

static void vcs_state_cb(struct bt_conn *conn, int err, uint8_t volume, uint8_t mute)
{
	if (err) {
		printk("VCS state get failed (%d)\n", err);
	} else {
		printk("VCS volume %u, mute %u\n", volume, mute);
		audio_out_volume_set(volume, mute == BT_VCP_STATE_MUTED);
	}
}

static void vcs_flags_cb(struct bt_conn *conn, int err, uint8_t flags)
{
	if (err) {
		printk("VCS flags get failed (%d)\n", err);
	} else {
		printk("VCS flags 0x%02X\n", flags);
	}
}

static struct bt_vcp_vol_rend_cb vcp_cbs = {
	.state = vcs_state_cb,
	.flags = vcs_flags_cb,
};

/* The volume is changed through the Volume Control Service, so that the phone is notified and
 * the output follows in vcs_state_cb()
 */
static void button_handler(uint32_t button_state, uint32_t has_changed)
{
	const uint32_t pressed = button_state & has_changed;
	int err;

	if ((pressed & DK_BTN1_MSK) != 0U) {
		/* Turning the volume up also unmutes, like on a phone */
		err = bt_vcp_vol_rend_unmute_vol_up();
		if (err != 0) {
			printk("Failed to turn the volume up (err %d)\n", err);
		}
	}

	if ((pressed & DK_BTN2_MSK) != 0U) {
		err = bt_vcp_vol_rend_vol_down();
		if (err != 0) {
			printk("Failed to turn the volume down (err %d)\n", err);
		}
	}
}

int vcp_vol_renderer_init(void)
{
	int err;
	struct bt_vcp_vol_rend_register_param vcp_register_param;

	memset(&vcp_register_param, 0, sizeof(vcp_register_param));

	vcp_register_param.step = VOLUME_STEP;
	vcp_register_param.mute = BT_VCP_STATE_UNMUTED;
	vcp_register_param.volume = 100;
	vcp_register_param.cb = &vcp_cbs;

	err = bt_vcp_vol_rend_register(&vcp_register_param);
	if (err) {
		return err;
	}

	err = bt_vcp_vol_rend_included_get(&vcp_included);
	if (err != 0) {
		return err;
	}

	audio_out_volume_set(vcp_register_param.volume,
			     vcp_register_param.mute == BT_VCP_STATE_MUTED);

	err = dk_buttons_init(button_handler);
	if (err != 0) {
		printk("Failed to initialize the buttons (err %d)\n", err);
		return err;
	}

	return 0;
}
```
